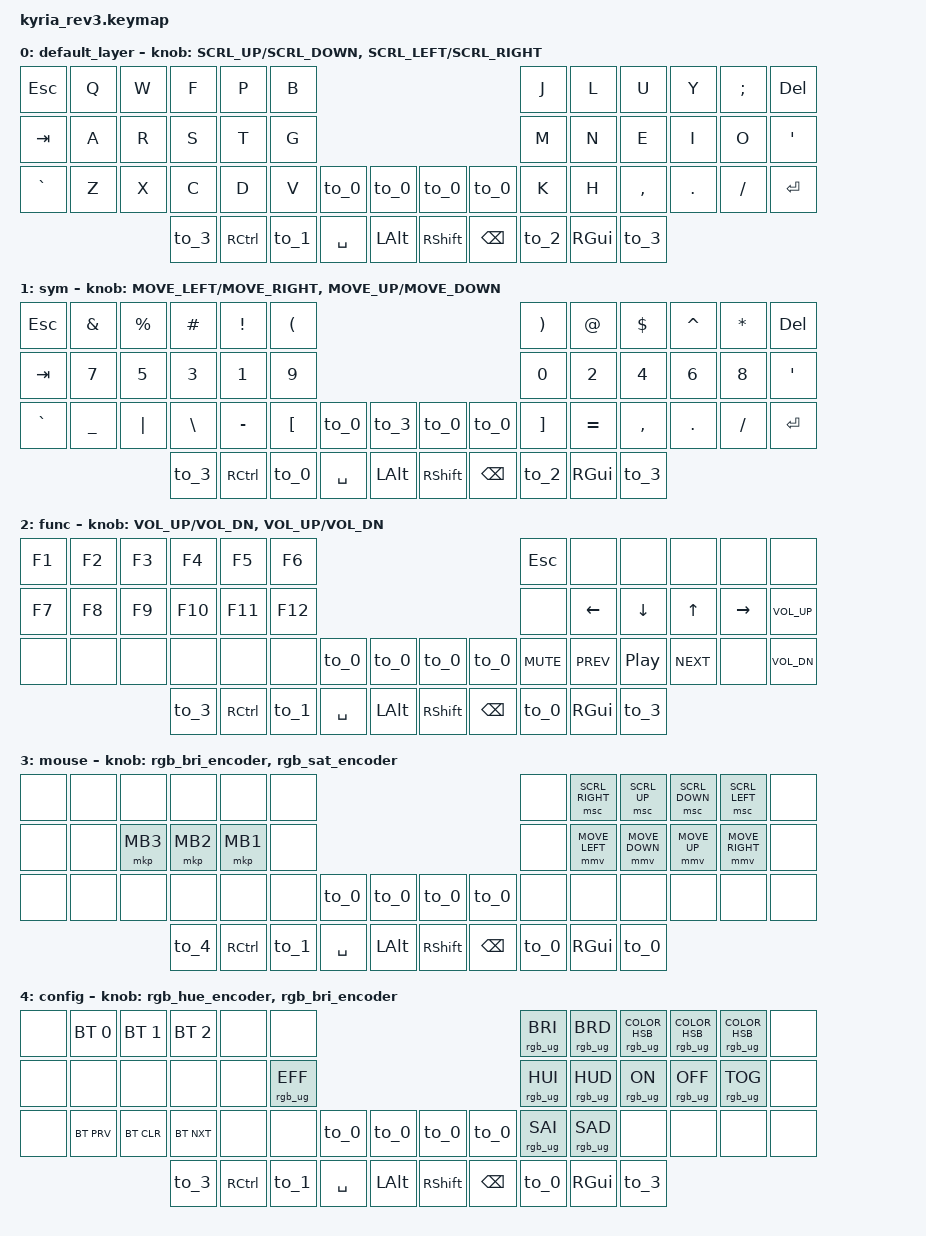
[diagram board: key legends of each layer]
/*
 * Copyright (c) 2020 The ZMK Contributors
 *
 * SPDX-License-Identifier: MIT
 */
#include <behaviors.dtsi>
#include <behaviors/mouse_keys.dtsi>
#include <dt-bindings/zmk/keys.h>
#include <dt-bindings/zmk/bt.h>
#include <dt-bindings/zmk/mouse.h>
#include <dt-bindings/zmk/rgb.h>

&left_encoder  { steps = <36>; };
&right_encoder { steps = <36>; };
&led_strip { chain-length = <25>; };

/ {
    input_configs {
        compatible = "zmk,input-configs";

        mmv {
            device = <&mmv>;
            scale-multiplier = <1>;
        };

        msc {
            device = <&msc>;
            scale-multiplier = <1>;
        };
    };

    macros {
        to_0: to_0 {
            label = "ZM_to_0";
            compatible = "zmk,behavior-macro";
            #binding-cells = <0>;
            bindings = <&to 0 &kp F13>;
        };

        to_1: to_1 {
            label = "ZM_to_1";
            compatible = "zmk,behavior-macro";
            #binding-cells = <0>;
            bindings = <&to 1 &kp F16>;
        };

        to_2: to_2 {
            label = "ZM_to_2";
            compatible = "zmk,behavior-macro";
            #binding-cells = <0>;
            bindings = <&to 2 &kp F18>;
        };

        to_3: to_3 {
            label = "ZM_to_3";
            compatible = "zmk,behavior-macro";
            #binding-cells = <0>;
            bindings = <&to 3 &kp F17>;
        };

        to_4: to_4 {
            label = "ZM_to_4";
            compatible = "zmk,behavior-macro";
            #binding-cells = <0>;
            bindings = <&to 4 &kp F19>;
        };
    };

    behaviors {
        rot_mmv: sensor_rotate_mmv {
            compatible = "zmk,behavior-sensor-rotate-var";
            #sensor-binding-cells = <2>;
            tap-ms = <100>;
            bindings = <&mmv>, <&mmv>;
        };

        rot_msc: sensor_rotate_msc {
            compatible = "zmk,behavior-sensor-rotate-var";
            #sensor-binding-cells = <2>;
            tap-ms = <100>;
            bindings = <&msc>, <&msc>;
        };

        rgb_bri_encoder: rgb_bri_encoder {
            compatible = "zmk,behavior-sensor-rotate";
            #sensor-binding-cells = <0>;
            bindings = <&rgb_ug RGB_BRI>, <&rgb_ug RGB_BRD>;
        };

        rgb_hue_encoder: rgb_hue_encoder {
            compatible = "zmk,behavior-sensor-rotate";
            #sensor-binding-cells = <0>;
            bindings = <&rgb_ug RGB_HUI>, <&rgb_ug RGB_HUD>;
        };

        rgb_sat_encoder: rgb_sat_encoder {
            compatible = "zmk,behavior-sensor-rotate";
            #sensor-binding-cells = <0>;
            bindings = <&rgb_ug RGB_SAI>, <&rgb_ug RGB_SAD>;
        };
    };

    keymap {
        compatible = "zmk,keymap";

        default_layer {
            bindings = <
                &kp ESC    &kp Q     &kp W    &kp F    &kp P     &kp B                                                 &kp J     &kp L     &kp U      &kp Y      &kp SEMI  &kp DEL
                &kp TAB    &kp A     &kp R    &kp S    &kp T     &kp G                                                 &kp M     &kp N     &kp E      &kp I      &kp O     &kp SQT
                &kp GRAVE  &kp Z     &kp X    &kp C    &kp D     &kp V  &to_0     &to_0    /**/ &to_0       &to_0      &kp K     &kp H     &kp COMMA  &kp DOT    &kp FSLH  &kp ENTER
                                              &to_3    &kp RCTRL &to_1  &kp SPACE &kp LALT /**/ &kp RSHIFT  &kp BSPC   &to_2     &kp RGUI  &to_3
            >;

            sensor-bindings = <
                &rot_msc SCRL_UP SCRL_DOWN
                &rot_msc SCRL_LEFT SCRL_RIGHT
            >;
        };

        sym {
            bindings = <
                &kp ESC      &kp AMPS    &kp PRCNT &kp HASH &kp EXCL   &kp LPAR                                             &kp RPAR  &kp AT    &kp DLLR  &kp CARET  &kp ASTRK &kp DEL
                &kp TAB      &kp N7      &kp N5    &kp N3   &kp N1     &kp N9                                               &kp N0    &kp N2    &kp N4    &kp N6     &kp N8    &kp SQT
                &kp GRAVE    &kp UNDER   &kp PIPE  &kp BSLH &kp MINUS  &kp LBKT &to_0     &to_3    /**/ &to_0      &to_0    &kp RBKT  &kp EQUAL &kp COMMA &kp DOT    &kp FSLH  &kp ENTER
                                                   &to_3    &kp RCTRL  &to_0    &kp SPACE &kp LALT /**/ &kp RSHIFT &kp BSPC &to_2     &kp RGUI  &to_3
            >;

            sensor-bindings = <
                &rot_mmv MOVE_LEFT MOVE_RIGHT
                &rot_mmv MOVE_UP MOVE_DOWN
            >;
        };

        func {
            bindings = <
                &kp F1    &kp F2    &kp F3    &kp F4    &kp F5    &kp F6                                             &kp ESC    &none      &none    &none      &none     &none
                &kp F7    &kp F8    &kp F9    &kp F10   &kp F11   &kp F12                                            &none      &kp LEFT   &kp DOWN &kp UP     &kp RIGHT &kp C_VOL_UP
                &none     &none     &none     &none     &none     &none  &to_0     &to_0    /**/ &to_0      &to_0    &kp C_MUTE &kp C_PREV &kp C_PP &kp C_NEXT &none     &kp C_VOL_DN
                                              &to_3     &kp RCTRL &to_1  &kp SPACE &kp LALT /**/ &kp RSHIFT &kp BSPC &to_0      &kp RGUI   &to_3
            >;

            sensor-bindings = <
                &inc_dec_kp C_VOL_UP C_VOL_DN
                &inc_dec_kp C_VOL_UP C_VOL_DN
            >;
        };

        mouse { 
            bindings = <                                                                                                                     /* Scroll up/down are reversed on mac */
                &none     &none     &none     &none     &none     &none                     /**/                     &none   &msc SCRL_RIGHT &msc SCRL_UP   &msc SCRL_DOWN &msc SCRL_LEFT  &none
                &none     &none     &mkp MB3  &mkp MB2  &mkp MB1  &none                     /**/                     &none   &mmv MOVE_LEFT  &mmv MOVE_DOWN &mmv MOVE_UP   &mmv MOVE_RIGHT &none
                &none     &none     &none     &none     &none     &none  &to_0     &to_0    /**/ &to_0      &to_0    &none   &none           &none          &none          &none           &none
                                              &to_4     &kp RCTRL &to_1  &kp SPACE &kp LALT /**/ &kp RSHIFT &kp BSPC &to_0   &kp RGUI         &to_0
            >;

            sensor-bindings = <
                &rgb_bri_encoder
                &rgb_sat_encoder
            >;
        };

        config { 
            bindings = <
                &none   &bt BT_SEL 0 &bt BT_SEL 1 &bt BT_SEL 2 &none     &none                     /**/                     &rgb_ug RGB_BRI &rgb_ug RGB_BRD &rgb_ug RGB_COLOR_HSB(30,100,100) &rgb_ug RGB_COLOR_HSB(30,80,100) &rgb_ug RGB_COLOR_HSB(30,100,80) &none
                &none   &none        &none        &none        &none     &rgb_ug RGB_EFF           /**/                     &rgb_ug RGB_HUI &rgb_ug RGB_HUD &rgb_ug RGB_ON                    &rgb_ug RGB_OFF &rgb_ug RGB_TOG  &none
                &none   &bt BT_PRV   &bt BT_CLR   &bt BT_NXT   &none     &none  &to_0     &to_0    /**/ &to_0      &to_0    &rgb_ug RGB_SAI &rgb_ug RGB_SAD &none                             &none           &none            &none
                                                  &to_3        &kp RCTRL &to_1  &kp SPACE &kp LALT /**/ &kp RSHIFT &kp BSPC &to_0           &kp RGUI        &to_3
            >;

            sensor-bindings = <
                &rgb_hue_encoder
                &rgb_bri_encoder
            >;
        };
    };
};
